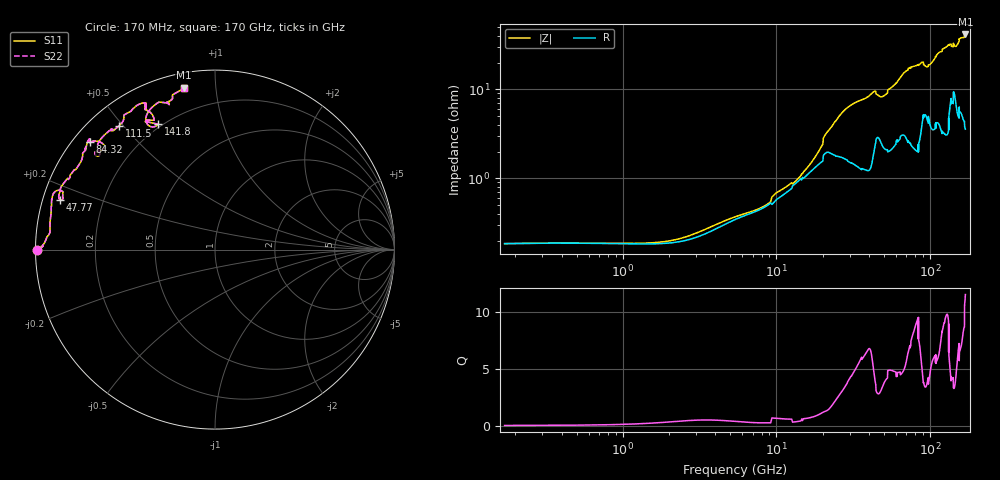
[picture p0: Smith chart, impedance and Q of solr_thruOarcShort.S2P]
# GHz S RI R 50
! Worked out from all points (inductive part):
!   1000 points, 170 MHz to 170 GHz, reference 50 ohm
!   read as one part to ground: L = 32.9 pH near 26.69 GHz
!   highest Q = 11.5 at 170 GHz (marker M1), where L = 38.5 pH
!   S11 on the Smith chart (normalised r, x): 170 MHz: 0.00, +0.00; 47.77 GHz: 0.05, +0.16; 84.32 GHz: 0.05, +0.37; 111.5 GHz: 0.08, +0.49; 141.8 GHz: 0.19, +0.63; 170 GHz: 0.07, +0.82
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0.17  -0.9926 0.000239  0 0  0 0  -0.9926 0.000239
17  -0.9516 0.0352  0 0  0 0  -0.9516 0.0352
28.56  -0.9124 0.218  0 0  0 0  -0.9124 0.218
42.5  -0.8762 0.33  0 0  0 0  -0.8762 0.33
47.77  -0.8614 0.2773  0 0  0 0  -0.8614 0.2773
56.78  -0.8434 0.3693  0 0  0 0  -0.8434 0.3693
72.93  -0.7191 0.5617  0 0  0 0  -0.7191 0.5617
84.32  -0.6958 0.5979  0 0  0 0  -0.6958 0.5979
85.17  -0.6871 0.6016  0 0  0 0  -0.6871 0.6016
89.76  -0.6188 0.5832  0 0  0 0  -0.6188 0.5832
95.03  -0.6597 0.5221  0 0  0 0  -0.6597 0.5221
103.19  -0.6418 0.6088  0 0  0 0  -0.6418 0.6088
111.52  -0.533 0.691  0 0  0 0  -0.533 0.691
113.39  -0.5182 0.7065  0 0  0 0  -0.5182 0.7065
131.24  -0.4009 0.8168  0 0  0 0  -0.4009 0.8168
136.34  -0.3414 0.7351  0 0  0 0  -0.3414 0.7351
140.76  -0.3869 0.7111  0 0  0 0  -0.3869 0.7111
141.78  -0.3157 0.698  0 0  0 0  -0.3157 0.698
149.26  -0.38 0.7517  0 0  0 0  -0.38 0.7517
155.72  -0.2603 0.8239  0 0  0 0  -0.2603 0.8239
166.77  -0.2363 0.8627  0 0  0 0  -0.2363 0.8627
170  -0.1741 0.9018  0 0  0 0  -0.1741 0.9018
